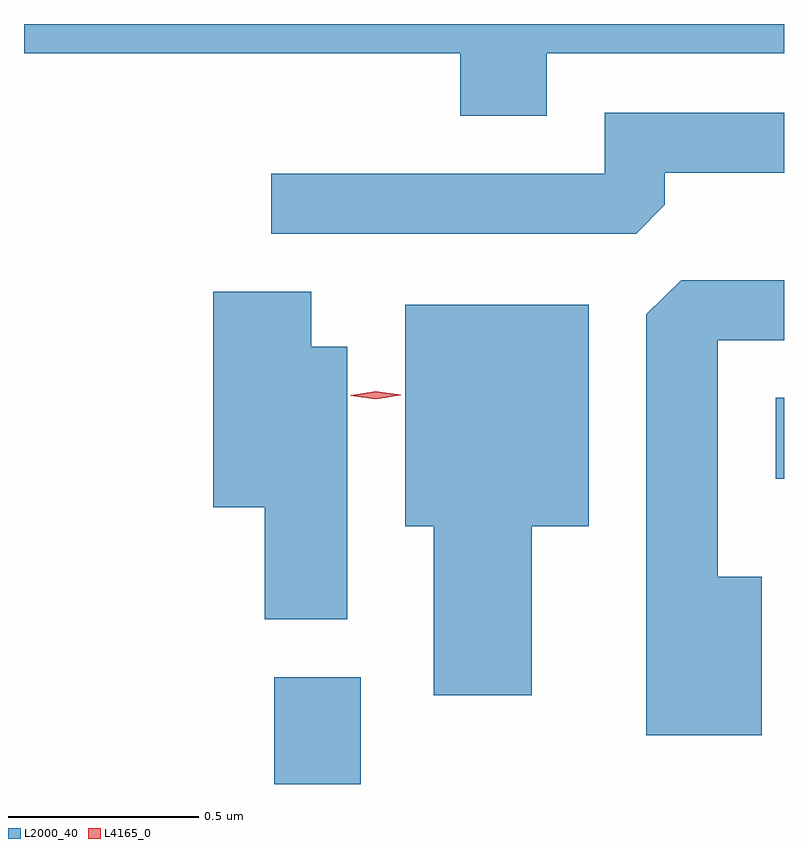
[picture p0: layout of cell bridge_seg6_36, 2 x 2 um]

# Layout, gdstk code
import gdstk
lib = gdstk.Library(unit=1e-6, precision=1e-09)
def R(c, l, rs):  # rectangles x0, y0, x1, y1
    for r in rs: c.add(gdstk.rectangle(r[:2], r[2:], *l))
def P(c, l, *ps):  # polygons
    for p in ps: c.add(gdstk.Polygon(p, *l))
L2000_40 = (2000, 40)
L4165_0 = (4165, 0)

bridge_seg6_36 = lib.new_cell('bridge_seg6_36')
R(bridge_seg6_36, L2000_40, [(1821.861,1634.693,1822.089,1634.974), (1823.181,1635.496,1823.203,1635.709)])
P(bridge_seg6_36, L2000_40, [(1822.579,1636.616),(1823.203,1636.616),(1823.203,1636.693),(1821.203,1636.693),(1821.203,1636.616),(1822.351,1636.616),(1822.351,1636.451),(1822.579,1636.451)],
  [(1822.889,1636.217),(1822.889,1636.301),(1823.203,1636.301),(1823.203,1636.459),(1822.731,1636.459),(1822.731,1636.299),(1821.853,1636.299),(1821.853,1636.141),(1822.814,1636.141)],
  [(1823.144,1635.239),(1823.029,1635.239),(1823.029,1635.861),(1823.203,1635.861),(1823.203,1636.019),(1822.932,1636.019),(1822.841,1635.929),(1822.841,1634.821),(1823.144,1634.821)],
  [(1822.054,1635.844),(1821.959,1635.844),(1821.959,1635.989),(1821.701,1635.989),(1821.701,1635.421),(1821.836,1635.421),(1821.836,1635.126),(1822.054,1635.126)],
  [(1822.539,1635.371),(1822.689,1635.371),(1822.689,1635.954),(1822.206,1635.954),(1822.206,1635.371),(1822.281,1635.371),(1822.281,1634.926),(1822.539,1634.926)])
P(bridge_seg6_36, L4165_0, [(1822.129,1635.706),(1822.063,1635.715),(1822.063,1635.715),(1822.063,1635.716),(1822.129,1635.726),(1822.195,1635.717),(1822.195,1635.716),(1822.195,1635.716)])

lib.write_gds('bridge_seg6_36.gds')
